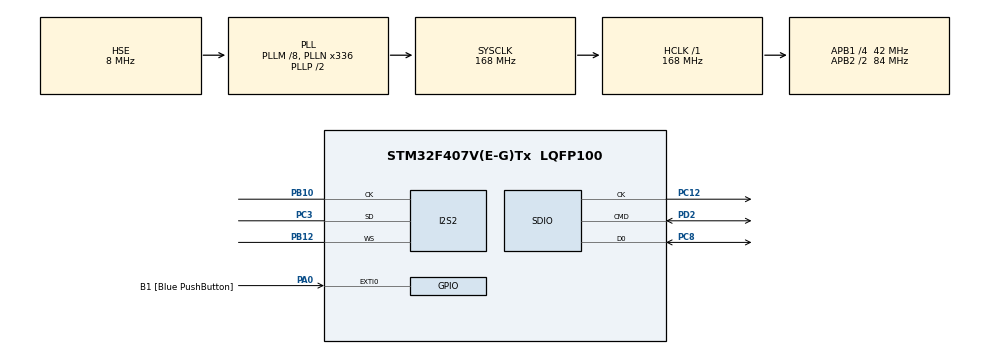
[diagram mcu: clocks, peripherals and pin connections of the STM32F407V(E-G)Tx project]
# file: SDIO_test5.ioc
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Dma.Request0=SPI2_RX
Dma.SPI2_RX.0.Direction=DMA_PERIPH_TO_MEMORY
Dma.SPI2_RX.0.FIFOMode=DMA_FIFOMODE_DISABLE
Dma.SPI2_RX.0.Instance=DMA1_Stream3
Dma.SPI2_RX.0.MemDataAlignment=DMA_MDATAALIGN_HALFWORD
Dma.SPI2_RX.0.MemInc=DMA_MINC_ENABLE
Dma.SPI2_RX.0.Mode=DMA_CIRCULAR
Dma.SPI2_RX.0.PeriphDataAlignment=DMA_PDATAALIGN_HALFWORD
Dma.SPI2_RX.0.PeriphInc=DMA_PINC_DISABLE
Dma.SPI2_RX.0.Priority=DMA_PRIORITY_LOW
FATFS._USE_LFN=1
FATFS._USE_STRFUNC=1
I2S2.AudioFreq=I2S_AUDIOFREQ_32K
I2S2.DataFormat=I2S_DATAFORMAT_16B_EXTENDED
I2S2.ErrorAudioFreq=-0.26 %
I2S2.FullDuplexMode=I2S_FULLDUPLEXMODE_DISABLE
I2S2.Instance=SPI$Index
I2S2.Mode=I2S_MODE_MASTER_RX
I2S2.RealAudioFreq=31.914 KHz
I2S2.VirtualMode=I2S_MODE_MASTER
Mcu.Family=STM32F4
Mcu.Name=STM32F407V(E-G)Tx
Mcu.Package=LQFP100
NVIC.DMA1_Stream3_IRQn=true\:0\:0\:false\:false\:true\:false\:true\:true
NVIC.EXTI0_IRQn=true\:0\:0\:false\:false\:true\:true\:true\:true
NVIC.PriorityGroup=NVIC_PRIORITYGROUP_4
NVIC.SDIO_IRQn=true\:0\:0\:false\:false\:true\:true\:true\:true
PA0-WKUP.GPIO_Label=B1 [Blue PushButton]
PA0-WKUP.Signal=GPXTI0
PA13.Mode=Serial_Wire
PA13.Signal=SYS_JTMS-SWDIO
PA14.Mode=Serial_Wire
PA14.Signal=SYS_JTCK-SWCLK
PB10.Mode=Half_Duplex_Master
PB10.Signal=I2S2_CK
PB12.Mode=Half_Duplex_Master
PB12.Signal=I2S2_WS
PC12.GPIO_PuPd=GPIO_PULLDOWN
PC12.Mode=SD_1_bit
PC12.Signal=SDIO_CK
PC3.Mode=Half_Duplex_Master
PC3.Signal=I2S2_SD
PC8.GPIO_PuPd=GPIO_PULLUP
PC8.Mode=SD_1_bit
PC8.Signal=SDIO_D0
PD2.GPIO_PuPd=GPIO_PULLUP
PD2.Mode=SD_1_bit
PD2.Signal=SDIO_CMD
PH0-OSC_IN.Mode=HSE-External-Oscillator
PH0-OSC_IN.Signal=RCC_OSC_IN
PH1-OSC_OUT.Mode=HSE-External-Oscillator
PH1-OSC_OUT.Signal=RCC_OSC_OUT
ProjectManager.HeapSize=0x2000
ProjectManager.StackSize=0x4000
ProjectManager.TargetToolchain=STM32CubeIDE
RCC.48MHZClocksFreq_Value=48000000
RCC.AHBFreq_Value=168000000
RCC.APB1CLKDivider=RCC_HCLK_DIV4
RCC.APB1Freq_Value=42000000
RCC.APB1TimFreq_Value=84000000
RCC.APB2CLKDivider=RCC_HCLK_DIV2
RCC.APB2Freq_Value=84000000
RCC.APB2TimFreq_Value=168000000
RCC.CortexFreq_Value=168000000
RCC.HCLKFreq_Value=168000000
RCC.HSE_VALUE=8000000
RCC.HSI_VALUE=16000000
RCC.LSE_VALUE=32768
RCC.PLLM=8
RCC.PLLN=336
RCC.PLLQ=7
RCC.PLLSourceVirtual=RCC_PLLSOURCE_HSE
RCC.SYSCLKFreq_VALUE=168000000
RCC.SYSCLKSource=RCC_SYSCLKSOURCE_PLLCLK
RCC.VCOOutputFreq_Value=336000000
SDIO.ClockDiv=0
SDIO.ClockEdge=SDIO_CLOCK_EDGE_RISING
VP_FATFS_VS_SDIO.Mode=SDIO
board=custom

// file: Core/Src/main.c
/* USER CODE BEGIN Header */
/**
  ******************************************************************************
  * @file           : main.c
  * @brief          : Main program body
  ******************************************************************************
  * @attention
  *
  * Copyright (c) 2024 STMicroelectronics.
  * All rights reserved.
  *
  * This software is licensed under terms that can be found in the LICENSE file
  * in the root directory of this software component.
  * If no LICENSE file comes with this software, it is provided AS-IS.
  *
  ******************************************************************************
  */
/* USER CODE END Header */
#include "main.h"
#include "fatfs.h"

/* USER CODE BEGIN Includes */
#include "stdio.h"
#include "audio_sd.h"
/* USER CODE END Includes */

I2S_HandleTypeDef hi2s2;
DMA_HandleTypeDef hdma_spi2_rx;

SD_HandleTypeDef hsd;

/* USER CODE BEGIN PV */

FATFS fatfs;
FIL myfile;
FRESULT fresult;
int16_t data_i2s[WAV_WRITE_SAMPLE_COUNT];
volatile int16_t sample_i2s;
volatile uint8_t button_flag, start_stop_recording;
volatile uint8_t  half_i2s, full_i2s;
uint32_t a;
/* USER CODE END PV */

void SystemClock_Config(void);
static void MX_GPIO_Init(void);
static void MX_DMA_Init(void);
static void MX_SDIO_SD_Init(void);
static void MX_I2S2_Init(void);

int main(void)
{

  /* MCU Configuration--------------------------------------------------------*/

  /* Reset of all peripherals, Initializes the Flash interface and the Systick. */
  HAL_Init();

  /* Configure the system clock */
  SystemClock_Config();

  /* Initialize all configured peripherals */
  MX_GPIO_Init();
  MX_DMA_Init();
  MX_SDIO_SD_Init();
  MX_FATFS_Init();
  MX_I2S2_Init();
  /* USER CODE BEGIN 2 */

  if(BSP_SD_Init() == MSD_OK)
  {
	  fresult = f_mount(&fatfs,"",1);
	  fresult = f_open(&myfile,"sdio_testing.txt",FA_CREATE_ALWAYS|FA_WRITE);
	  f_printf(&myfile, "ahihi");
	  f_close(&myfile);
  }

//  a = ahihi();

  /* USER CODE END 2 */

  /* Infinite loop */
  /* USER CODE BEGIN WHILE */
  while (1)
  {
	  if(button_flag)
	  {

		  if(start_stop_recording)
		  {
			  HAL_I2S_DMAStop(&hi2s2);
			  start_stop_recording = 0;
			  stop_recording();
			  half_i2s = 0;
			  full_i2s = 0;
			  printf("stop recording \n");
		  }
		  else
		  {
			  start_stop_recording = 1;
			  start_recording(I2S_AUDIOFREQ_32K);
			  printf("start_recording %d and %d\n", half_i2s, full_i2s);
			  HAL_I2S_Receive_DMA(&hi2s2, (uint16_t *)data_i2s, sizeof(data_i2s)/2);

		  }
		  button_flag = 0;
	  }
    /* USER CODE END WHILE */

    /* USER CODE BEGIN 3 */
	  if(start_stop_recording == 1 && half_i2s == 1)
	  	  {
	  		  write2wave_file(((uint8_t*)data_i2s),	 WAV_WRITE_SAMPLE_COUNT);
	  		  half_i2s = 0;
	  	  }
	  	  if(start_stop_recording == 1 && full_i2s == 1)
	  	  {
	  		  write2wave_file(((uint8_t*)data_i2s) + WAV_WRITE_SAMPLE_COUNT, WAV_WRITE_SAMPLE_COUNT);
	  		  full_i2s = 0;
	  	  }
  }

  /* USER CODE END 3 */
}

void SystemClock_Config(void)
{
  RCC_OscInitTypeDef RCC_OscInitStruct = {0};
  RCC_ClkInitTypeDef RCC_ClkInitStruct = {0};

  /** Configure the main internal regulator output voltage
  */
  __HAL_RCC_PWR_CLK_ENABLE();
  __HAL_PWR_VOLTAGESCALING_CONFIG(PWR_REGULATOR_VOLTAGE_SCALE1);

  /** Initializes the RCC Oscillators according to the specified parameters
  * in the RCC_OscInitTypeDef structure.
  */
  RCC_OscInitStruct.OscillatorType = RCC_OSCILLATORTYPE_HSE;
  RCC_OscInitStruct.HSEState = RCC_HSE_ON;
  RCC_OscInitStruct.PLL.PLLState = RCC_PLL_ON;
  RCC_OscInitStruct.PLL.PLLSource = RCC_PLLSOURCE_HSE;
  RCC_OscInitStruct.PLL.PLLM = 8;
  RCC_OscInitStruct.PLL.PLLN = 336;
  RCC_OscInitStruct.PLL.PLLP = RCC_PLLP_DIV2;
  RCC_OscInitStruct.PLL.PLLQ = 7;
  if (HAL_RCC_OscConfig(&RCC_OscInitStruct) != HAL_OK)
  {
    Error_Handler();
  }

  /** Initializes the CPU, AHB and APB buses clocks
  */
  RCC_ClkInitStruct.ClockType = RCC_CLOCKTYPE_HCLK|RCC_CLOCKTYPE_SYSCLK
                              |RCC_CLOCKTYPE_PCLK1|RCC_CLOCKTYPE_PCLK2;
  RCC_ClkInitStruct.SYSCLKSource = RCC_SYSCLKSOURCE_PLLCLK;
  RCC_ClkInitStruct.AHBCLKDivider = RCC_SYSCLK_DIV1;
  RCC_ClkInitStruct.APB1CLKDivider = RCC_HCLK_DIV4;
  RCC_ClkInitStruct.APB2CLKDivider = RCC_HCLK_DIV2;

  if (HAL_RCC_ClockConfig(&RCC_ClkInitStruct, FLASH_LATENCY_5) != HAL_OK)
  {
    Error_Handler();
  }
}

static void MX_I2S2_Init(void)
{

  hi2s2.Instance = SPI2;
  hi2s2.Init.Mode = I2S_MODE_MASTER_RX;
  hi2s2.Init.Standard = I2S_STANDARD_PHILIPS;
  hi2s2.Init.DataFormat = I2S_DATAFORMAT_16B_EXTENDED;
  hi2s2.Init.MCLKOutput = I2S_MCLKOUTPUT_DISABLE;
  hi2s2.Init.AudioFreq = I2S_AUDIOFREQ_32K;
  hi2s2.Init.CPOL = I2S_CPOL_LOW;
  hi2s2.Init.ClockSource = I2S_CLOCK_PLL;
  hi2s2.Init.FullDuplexMode = I2S_FULLDUPLEXMODE_DISABLE;
  if (HAL_I2S_Init(&hi2s2) != HAL_OK)
  {
    Error_Handler();
  }

}

static void MX_SDIO_SD_Init(void)
{

  hsd.Instance = SDIO;
  hsd.Init.ClockEdge = SDIO_CLOCK_EDGE_RISING;
  hsd.Init.ClockBypass = SDIO_CLOCK_BYPASS_DISABLE;
  hsd.Init.ClockPowerSave = SDIO_CLOCK_POWER_SAVE_DISABLE;
  hsd.Init.BusWide = SDIO_BUS_WIDE_1B;
  hsd.Init.HardwareFlowControl = SDIO_HARDWARE_FLOW_CONTROL_DISABLE;
  hsd.Init.ClockDiv = 0;

}

static void MX_DMA_Init(void)
{

  /* DMA controller clock enable */
  __HAL_RCC_DMA1_CLK_ENABLE();

  /* DMA interrupt init */
  /* DMA1_Stream3_IRQn interrupt configuration */
  HAL_NVIC_SetPriority(DMA1_Stream3_IRQn, 0, 0);
  HAL_NVIC_EnableIRQ(DMA1_Stream3_IRQn);

}

static void MX_GPIO_Init(void)
{
  GPIO_InitTypeDef GPIO_InitStruct = {0};

  /* GPIO Ports Clock Enable */
  __HAL_RCC_GPIOH_CLK_ENABLE();
  __HAL_RCC_GPIOC_CLK_ENABLE();
  __HAL_RCC_GPIOA_CLK_ENABLE();
  __HAL_RCC_GPIOB_CLK_ENABLE();
  __HAL_RCC_GPIOD_CLK_ENABLE();

  /*Configure GPIO pin : B1_Pin */
  GPIO_InitStruct.Pin = B1_Pin;
  GPIO_InitStruct.Mode = GPIO_MODE_IT_RISING;
  GPIO_InitStruct.Pull = GPIO_NOPULL;
  HAL_GPIO_Init(B1_GPIO_Port, &GPIO_InitStruct);

  /* EXTI interrupt init*/
  HAL_NVIC_SetPriority(EXTI0_IRQn, 0, 0);
  HAL_NVIC_EnableIRQ(EXTI0_IRQn);

}

/* USER CODE BEGIN 4 */
int _write(int file, char *ptr, int len)
{
	int DataIdx;

	for (DataIdx = 0; DataIdx < len; DataIdx++)
	{
		ITM_SendChar(*ptr++);
	}
	return len;
}
//	l,r,l,r,l,
void HAL_I2S_RxCpltCallback(I2S_HandleTypeDef *hi2s)
{

	full_i2s = 1;
}
void HAL_I2S_RxHalfCpltCallback(I2S_HandleTypeDef *hi2s)
{
	//sample_i2s = data_i2s[0];
	half_i2s = 1;
}

void HAL_GPIO_EXTI_Callback(uint16_t GPIO_Pin)
{

	if(GPIO_Pin == B1_Pin)
	{
		button_flag = 1;
	}
}

/* USER CODE END 4 */

void Error_Handler(void)
{
  __disable_irq();
  while (1)
  {
  }
}
